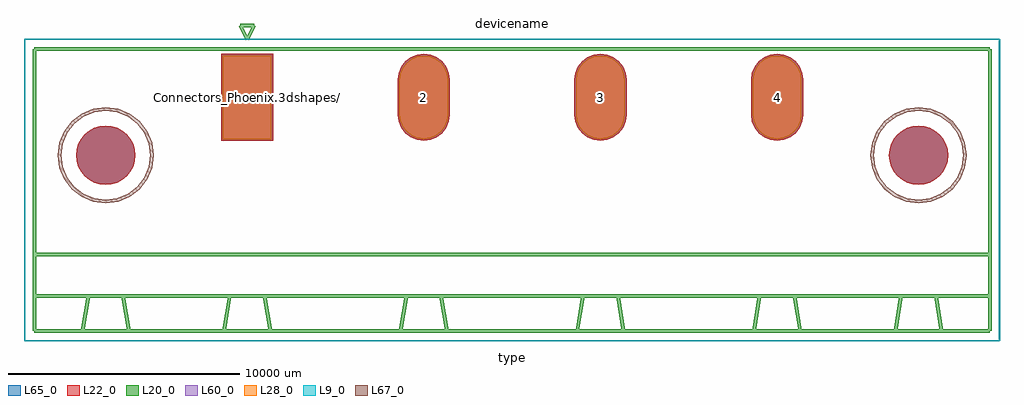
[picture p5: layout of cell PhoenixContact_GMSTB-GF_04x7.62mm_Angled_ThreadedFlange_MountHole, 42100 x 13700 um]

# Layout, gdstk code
import gdstk
lib = gdstk.Library(unit=1e-6, precision=1e-09)
def R(c, l, rs):  # rectangles x0, y0, x1, y1
    for r in rs: c.add(gdstk.rectangle(r[:2], r[2:], *l))
def P(c, l, *ps):  # polygons
    for p in ps: c.add(gdstk.Polygon(p, *l))
L9_0 = (9, 0)
L20_0 = (20, 0)
L22_0 = (22, 0)
L28_0 = (28, 0)
L60_0 = (60, 0)
L65_0 = (65, 0)
L67_0 = (67, 0)

phoenixcontact_gmstb_gf_ = lib.new_cell('PhoenixContact_GMSTB-GF_04x7.62mm_Angled_ThreadedFlange_MountHole')
R(phoenixcontact_gmstb_gf_, L22_0, [(-1125,-1875,1125,1875)])
P(phoenixcontact_gmstb_gf_, L22_0, [(30235,-2500),(30210.501,-2251.26),(30137.946,-2012.079),(30020.124,-1791.648),(29861.561,-1598.439),(29668.352,-1439.876),(29447.921,-1322.054),(29208.74,-1249.499),(28960,-1225),(28711.26,-1249.499),(28472.079,-1322.054),(28251.648,-1439.876),(28058.439,-1598.439),(27899.876,-1791.648),(27782.054,-2012.079),(27709.499,-2251.26),(27685,-2500),(27709.499,-2748.74),(27782.054,-2987.921),(27899.876,-3208.352),(28058.439,-3401.561),(28251.648,-3560.124),(28472.079,-3677.946),(28711.26,-3750.501),(28960,-3775),(29208.74,-3750.501),(29447.921,-3677.946),(29668.352,-3560.124),(29861.561,-3401.561),(30020.124,-3208.352),(30137.946,-2987.921),(30210.501,-2748.74)],
  [(-4825,-2500),(-4849.499,-2251.26),(-4922.054,-2012.079),(-5039.876,-1791.648),(-5198.439,-1598.439),(-5391.648,-1439.876),(-5612.079,-1322.054),(-5851.26,-1249.499),(-6100,-1225),(-6348.74,-1249.499),(-6587.921,-1322.054),(-6808.352,-1439.876),(-7001.561,-1598.439),(-7160.124,-1791.648),(-7277.946,-2012.079),(-7350.501,-2251.26),(-7375,-2500),(-7350.501,-2748.74),(-7277.946,-2987.921),(-7160.124,-3208.352),(-7001.561,-3401.561),(-6808.352,-3560.124),(-6587.921,-3677.946),(-6348.74,-3750.501),(-6100,-3775),(-5851.26,-3750.501),(-5612.079,-3677.946),(-5391.648,-3560.124),(-5198.439,-3401.561),(-5039.876,-3208.352),(-4922.054,-2987.921),(-4849.499,-2748.74)],
  [(22860,-1875),(23151.171,-1836.667),(23422.5,-1724.279),(23655.495,-1545.495),(23834.279,-1312.5),(23946.667,-1041.171),(23985,-750),(23985,750),(23946.667,1041.171),(23834.279,1312.5),(23655.495,1545.495),(23422.5,1724.279),(23151.171,1836.667),(22860,1875),(22568.829,1836.667),(22297.5,1724.279),(22064.505,1545.495),(21885.721,1312.5),(21773.333,1041.171),(21735,750),(21735,-750),(21773.333,-1041.171),(21885.721,-1312.5),(22064.505,-1545.495),(22297.5,-1724.279),(22568.829,-1836.667)],
  [(15240,-1875),(15531.171,-1836.667),(15802.5,-1724.279),(16035.495,-1545.495),(16214.279,-1312.5),(16326.667,-1041.171),(16365,-750),(16365,750),(16326.667,1041.171),(16214.279,1312.5),(16035.495,1545.495),(15802.5,1724.279),(15531.171,1836.667),(15240,1875),(14948.829,1836.667),(14677.5,1724.279),(14444.505,1545.495),(14265.721,1312.5),(14153.333,1041.171),(14115,750),(14115,-750),(14153.333,-1041.171),(14265.721,-1312.5),(14444.505,-1545.495),(14677.5,-1724.279),(14948.829,-1836.667)],
  [(7620,-1875),(7911.171,-1836.667),(8182.5,-1724.279),(8415.495,-1545.495),(8594.279,-1312.5),(8706.667,-1041.171),(8745,-750),(8745,750),(8706.667,1041.171),(8594.279,1312.5),(8415.495,1545.495),(8182.5,1724.279),(7911.171,1836.667),(7620,1875),(7328.829,1836.667),(7057.5,1724.279),(6824.505,1545.495),(6645.721,1312.5),(6533.333,1041.171),(6495,750),(6495,-750),(6533.333,-1041.171),(6645.721,-1312.5),(6824.505,-1545.495),(7057.5,-1724.279),(7328.829,-1836.667)])
R(phoenixcontact_gmstb_gf_, L28_0, [(-1050,-1800,1050,1800)])
P(phoenixcontact_gmstb_gf_, L28_0, [(22860,-1800),(23131.76,-1764.222),(23385,-1659.327),(23602.462,-1492.462),(23769.327,-1275),(23874.222,-1021.76),(23910,-750),(23910,750),(23874.222,1021.76),(23769.327,1275),(23602.462,1492.462),(23385,1659.327),(23131.76,1764.222),(22860,1800),(22588.24,1764.222),(22335,1659.327),(22117.538,1492.462),(21950.673,1275),(21845.778,1021.76),(21810,750),(21810,-750),(21845.778,-1021.76),(21950.673,-1275),(22117.538,-1492.462),(22335,-1659.327),(22588.24,-1764.222)],
  [(15240,-1800),(15511.76,-1764.222),(15765,-1659.327),(15982.462,-1492.462),(16149.327,-1275),(16254.222,-1021.76),(16290,-750),(16290,750),(16254.222,1021.76),(16149.327,1275),(15982.462,1492.462),(15765,1659.327),(15511.76,1764.222),(15240,1800),(14968.24,1764.222),(14715,1659.327),(14497.538,1492.462),(14330.673,1275),(14225.778,1021.76),(14190,750),(14190,-750),(14225.778,-1021.76),(14330.673,-1275),(14497.538,-1492.462),(14715,-1659.327),(14968.24,-1764.222)],
  [(7620,-1800),(7891.76,-1764.222),(8145,-1659.327),(8362.462,-1492.462),(8529.327,-1275),(8634.222,-1021.76),(8670,-750),(8670,750),(8634.222,1021.76),(8529.327,1275),(8362.462,1492.462),(8145,1659.327),(7891.76,1764.222),(7620,1800),(7348.24,1764.222),(7095,1659.327),(6877.538,1492.462),(6710.673,1275),(6605.778,1021.76),(6570,750),(6570,-750),(6605.778,-1021.76),(6710.673,-1275),(6877.538,-1492.462),(7095,-1659.327),(7348.24,-1764.222)])
R(phoenixcontact_gmstb_gf_, L60_0, [(-1050,-1800,1050,1800)])
P(phoenixcontact_gmstb_gf_, L60_0, [(22860,-1800),(23131.76,-1764.222),(23385,-1659.327),(23602.462,-1492.462),(23769.327,-1275),(23874.222,-1021.76),(23910,-750),(23910,750),(23874.222,1021.76),(23769.327,1275),(23602.462,1492.462),(23385,1659.327),(23131.76,1764.222),(22860,1800),(22588.24,1764.222),(22335,1659.327),(22117.538,1492.462),(21950.673,1275),(21845.778,1021.76),(21810,750),(21810,-750),(21845.778,-1021.76),(21950.673,-1275),(22117.538,-1492.462),(22335,-1659.327),(22588.24,-1764.222)],
  [(15240,-1800),(15511.76,-1764.222),(15765,-1659.327),(15982.462,-1492.462),(16149.327,-1275),(16254.222,-1021.76),(16290,-750),(16290,750),(16254.222,1021.76),(16149.327,1275),(15982.462,1492.462),(15765,1659.327),(15511.76,1764.222),(15240,1800),(14968.24,1764.222),(14715,1659.327),(14497.538,1492.462),(14330.673,1275),(14225.778,1021.76),(14190,750),(14190,-750),(14225.778,-1021.76),(14330.673,-1275),(14497.538,-1492.462),(14715,-1659.327),(14968.24,-1764.222)],
  [(7620,-1800),(7891.76,-1764.222),(8145,-1659.327),(8362.462,-1492.462),(8529.327,-1275),(8634.222,-1021.76),(8670,-750),(8670,750),(8634.222,1021.76),(8529.327,1275),(8362.462,1492.462),(8145,1659.327),(7891.76,1764.222),(7620,1800),(7348.24,1764.222),(7095,1659.327),(6877.538,1492.462),(6710.673,1275),(6605.778,1021.76),(6570,750),(6570,-750),(6605.778,-1021.76),(6710.673,-1275),(6877.538,-1492.462),(7095,-1659.327),(7348.24,-1764.222)])
R(phoenixcontact_gmstb_gf_, L65_0, [(-1125,-1875,1125,1875)])
P(phoenixcontact_gmstb_gf_, L65_0, [(30235,-2500),(30210.501,-2251.26),(30137.946,-2012.079),(30020.124,-1791.648),(29861.561,-1598.439),(29668.352,-1439.876),(29447.921,-1322.054),(29208.74,-1249.499),(28960,-1225),(28711.26,-1249.499),(28472.079,-1322.054),(28251.648,-1439.876),(28058.439,-1598.439),(27899.876,-1791.648),(27782.054,-2012.079),(27709.499,-2251.26),(27685,-2500),(27709.499,-2748.74),(27782.054,-2987.921),(27899.876,-3208.352),(28058.439,-3401.561),(28251.648,-3560.124),(28472.079,-3677.946),(28711.26,-3750.501),(28960,-3775),(29208.74,-3750.501),(29447.921,-3677.946),(29668.352,-3560.124),(29861.561,-3401.561),(30020.124,-3208.352),(30137.946,-2987.921),(30210.501,-2748.74)],
  [(-4825,-2500),(-4849.499,-2251.26),(-4922.054,-2012.079),(-5039.876,-1791.648),(-5198.439,-1598.439),(-5391.648,-1439.876),(-5612.079,-1322.054),(-5851.26,-1249.499),(-6100,-1225),(-6348.74,-1249.499),(-6587.921,-1322.054),(-6808.352,-1439.876),(-7001.561,-1598.439),(-7160.124,-1791.648),(-7277.946,-2012.079),(-7350.501,-2251.26),(-7375,-2500),(-7350.501,-2748.74),(-7277.946,-2987.921),(-7160.124,-3208.352),(-7001.561,-3401.561),(-6808.352,-3560.124),(-6587.921,-3677.946),(-6348.74,-3750.501),(-6100,-3775),(-5851.26,-3750.501),(-5612.079,-3677.946),(-5391.648,-3560.124),(-5198.439,-3401.561),(-5039.876,-3208.352),(-4922.054,-2987.921),(-4849.499,-2748.74)],
  [(22860,-1875),(23151.171,-1836.667),(23422.5,-1724.279),(23655.495,-1545.495),(23834.279,-1312.5),(23946.667,-1041.171),(23985,-750),(23985,750),(23946.667,1041.171),(23834.279,1312.5),(23655.495,1545.495),(23422.5,1724.279),(23151.171,1836.667),(22860,1875),(22568.829,1836.667),(22297.5,1724.279),(22064.505,1545.495),(21885.721,1312.5),(21773.333,1041.171),(21735,750),(21735,-750),(21773.333,-1041.171),(21885.721,-1312.5),(22064.505,-1545.495),(22297.5,-1724.279),(22568.829,-1836.667)],
  [(15240,-1875),(15531.171,-1836.667),(15802.5,-1724.279),(16035.495,-1545.495),(16214.279,-1312.5),(16326.667,-1041.171),(16365,-750),(16365,750),(16326.667,1041.171),(16214.279,1312.5),(16035.495,1545.495),(15802.5,1724.279),(15531.171,1836.667),(15240,1875),(14948.829,1836.667),(14677.5,1724.279),(14444.505,1545.495),(14265.721,1312.5),(14153.333,1041.171),(14115,750),(14115,-750),(14153.333,-1041.171),(14265.721,-1312.5),(14444.505,-1545.495),(14677.5,-1724.279),(14948.829,-1836.667)],
  [(7620,-1875),(7911.171,-1836.667),(8182.5,-1724.279),(8415.495,-1545.495),(8594.279,-1312.5),(8706.667,-1041.171),(8745,-750),(8745,750),(8706.667,1041.171),(8594.279,1312.5),(8415.495,1545.495),(8182.5,1724.279),(7911.171,1836.667),(7620,1875),(7328.829,1836.667),(7057.5,1724.279),(6824.505,1545.495),(6645.721,1312.5),(6533.333,1041.171),(6495,750),(6495,-750),(6533.333,-1041.171),(6645.721,-1312.5),(6824.505,-1545.495),(7057.5,-1724.279),(7328.829,-1836.667)])
phoenixcontact_gmstb_gf_.add(gdstk.FlexPath([(-300,3100),(0,2500)], 149.998, ends="flush", simple_path=True, layer=20, datatype=0))  # L20_0
phoenixcontact_gmstb_gf_.add(gdstk.FlexPath([(300,3100),(-300,3100)], 149.998, ends="flush", simple_path=True, layer=20, datatype=0))  # L20_0
phoenixcontact_gmstb_gf_.add(gdstk.FlexPath([(0,2500),(300,3100)], 149.998, ends="flush", simple_path=True, layer=20, datatype=0))  # L20_0
phoenixcontact_gmstb_gf_.add(gdstk.FlexPath([(32450,2500),(-9600,2500)], 50, ends="flush", simple_path=True, layer=9, datatype=0))  # L9_0
phoenixcontact_gmstb_gf_.add(gdstk.FlexPath([(32450,-10500),(32450,2500)], 50, ends="flush", simple_path=True, layer=9, datatype=0))  # L9_0
phoenixcontact_gmstb_gf_.add(gdstk.FlexPath([(-9600,-10500),(32450,-10500)], 50, ends="flush", simple_path=True, layer=9, datatype=0))  # L9_0
phoenixcontact_gmstb_gf_.add(gdstk.FlexPath([(-9600,2500),(-9600,-10500)], 50, ends="flush", simple_path=True, layer=9, datatype=0))  # L9_0
phoenixcontact_gmstb_gf_.add(gdstk.FlexPath([(22110,-8580),(21860,-10080)], 149.998, ends="flush", simple_path=True, layer=20, datatype=0))  # L20_0
phoenixcontact_gmstb_gf_.add(gdstk.FlexPath([(23610,-8580),(22110,-8580)], 149.998, ends="flush", simple_path=True, layer=20, datatype=0))  # L20_0
phoenixcontact_gmstb_gf_.add(gdstk.FlexPath([(23860,-10080),(23610,-8580)], 149.998, ends="flush", simple_path=True, layer=20, datatype=0))  # L20_0
phoenixcontact_gmstb_gf_.add(gdstk.FlexPath([(21860,-10080),(23860,-10080)], 149.998, ends="flush", simple_path=True, layer=20, datatype=0))  # L20_0
phoenixcontact_gmstb_gf_.add(gdstk.FlexPath([(14490,-8580),(14240,-10080)], 149.998, ends="flush", simple_path=True, layer=20, datatype=0))  # L20_0
phoenixcontact_gmstb_gf_.add(gdstk.FlexPath([(15990,-8580),(14490,-8580)], 149.998, ends="flush", simple_path=True, layer=20, datatype=0))  # L20_0
phoenixcontact_gmstb_gf_.add(gdstk.FlexPath([(16240,-10080),(15990,-8580)], 149.998, ends="flush", simple_path=True, layer=20, datatype=0))  # L20_0
phoenixcontact_gmstb_gf_.add(gdstk.FlexPath([(14240,-10080),(16240,-10080)], 149.998, ends="flush", simple_path=True, layer=20, datatype=0))  # L20_0
phoenixcontact_gmstb_gf_.add(gdstk.FlexPath([(6870,-8580),(6620,-10080)], 149.998, ends="flush", simple_path=True, layer=20, datatype=0))  # L20_0
phoenixcontact_gmstb_gf_.add(gdstk.FlexPath([(8370,-8580),(6870,-8580)], 149.998, ends="flush", simple_path=True, layer=20, datatype=0))  # L20_0
phoenixcontact_gmstb_gf_.add(gdstk.FlexPath([(8620,-10080),(8370,-8580)], 149.998, ends="flush", simple_path=True, layer=20, datatype=0))  # L20_0
phoenixcontact_gmstb_gf_.add(gdstk.FlexPath([(6620,-10080),(8620,-10080)], 149.998, ends="flush", simple_path=True, layer=20, datatype=0))  # L20_0
phoenixcontact_gmstb_gf_.add(gdstk.FlexPath([(-750,-8580),(-1000,-10080)], 149.998, ends="flush", simple_path=True, layer=20, datatype=0))  # L20_0
phoenixcontact_gmstb_gf_.add(gdstk.FlexPath([(750,-8580),(-750,-8580)], 149.998, ends="flush", simple_path=True, layer=20, datatype=0))  # L20_0
phoenixcontact_gmstb_gf_.add(gdstk.FlexPath([(1000,-10080),(750,-8580)], 149.998, ends="flush", simple_path=True, layer=20, datatype=0))  # L20_0
phoenixcontact_gmstb_gf_.add(gdstk.FlexPath([(-1000,-10080),(1000,-10080)], 149.998, ends="flush", simple_path=True, layer=20, datatype=0))  # L20_0
phoenixcontact_gmstb_gf_.add(gdstk.FlexPath([(28210,-8580),(27960,-10080)], 149.998, ends="flush", simple_path=True, layer=20, datatype=0))  # L20_0
phoenixcontact_gmstb_gf_.add(gdstk.FlexPath([(29710,-8580),(28210,-8580)], 149.998, ends="flush", simple_path=True, layer=20, datatype=0))  # L20_0
phoenixcontact_gmstb_gf_.add(gdstk.FlexPath([(29960,-10080),(29710,-8580)], 149.998, ends="flush", simple_path=True, layer=20, datatype=0))  # L20_0
phoenixcontact_gmstb_gf_.add(gdstk.FlexPath([(27960,-10080),(29960,-10080)], 149.998, ends="flush", simple_path=True, layer=20, datatype=0))  # L20_0
phoenixcontact_gmstb_gf_.add(gdstk.FlexPath([(-6850,-8580),(-7100,-10080)], 149.998, ends="flush", simple_path=True, layer=20, datatype=0))  # L20_0
phoenixcontact_gmstb_gf_.add(gdstk.FlexPath([(-5350,-8580),(-6850,-8580)], 149.998, ends="flush", simple_path=True, layer=20, datatype=0))  # L20_0
phoenixcontact_gmstb_gf_.add(gdstk.FlexPath([(-5100,-10080),(-5350,-8580)], 149.998, ends="flush", simple_path=True, layer=20, datatype=0))  # L20_0
phoenixcontact_gmstb_gf_.add(gdstk.FlexPath([(-7100,-10080),(-5100,-10080)], 149.998, ends="flush", simple_path=True, layer=20, datatype=0))  # L20_0
phoenixcontact_gmstb_gf_.add(gdstk.FlexPath([(32040,-8580),(-9180,-8580)], 149.998, ends="flush", simple_path=True, layer=20, datatype=0))  # L20_0
phoenixcontact_gmstb_gf_.add(gdstk.FlexPath([(32040,-6780),(32040,-8580)], 149.998, ends="flush", simple_path=True, layer=20, datatype=0))  # L20_0
phoenixcontact_gmstb_gf_.add(gdstk.FlexPath([(-9180,-6780),(32040,-6780)], 149.998, ends="flush", simple_path=True, layer=20, datatype=0))  # L20_0
phoenixcontact_gmstb_gf_.add(gdstk.FlexPath([(-9180,-8580),(-9180,-6780)], 149.998, ends="flush", simple_path=True, layer=20, datatype=0))  # L20_0
phoenixcontact_gmstb_gf_.add(gdstk.FlexPath([(32040,2080),(-9180,2080)], 149.998, ends="flush", simple_path=True, layer=20, datatype=0))  # L20_0
phoenixcontact_gmstb_gf_.add(gdstk.FlexPath([(32040,-10080),(32040,2080)], 149.998, ends="flush", simple_path=True, layer=20, datatype=0))  # L20_0
phoenixcontact_gmstb_gf_.add(gdstk.FlexPath([(-9180,-10080),(32040,-10080)], 149.998, ends="flush", simple_path=True, layer=20, datatype=0))  # L20_0
phoenixcontact_gmstb_gf_.add(gdstk.FlexPath([(-9180,2080),(-9180,-10080)], 149.998, ends="flush", simple_path=True, layer=20, datatype=0))  # L20_0
phoenixcontact_gmstb_gf_.add(gdstk.FlexPath([(30960,-2500),(30891.852,-1982.362),(30692.051,-1500),(30374.214,-1085.786),(29960,-767.949),(29477.638,-568.148),(28960,-500),(28442.362,-568.148),(27960,-767.949),(27545.786,-1085.786),(27227.949,-1500),(27028.148,-1982.362),(26960,-2500),(27028.148,-3017.638),(27227.949,-3500),(27545.786,-3914.214),(27960,-4232.051),(28442.362,-4431.852),(28960,-4500),(29477.638,-4431.852),(29960,-4232.051),(30374.214,-3914.214),(30692.051,-3500),(30891.852,-3017.638),(30960,-2500)], 149.998, ends="flush", simple_path=True, layer=67, datatype=0))  # L67_0
phoenixcontact_gmstb_gf_.add(gdstk.FlexPath([(-4100,-2500),(-4168.148,-1982.362),(-4367.949,-1500),(-4685.786,-1085.786),(-5100,-767.949),(-5582.362,-568.148),(-6100,-500),(-6617.638,-568.148),(-7100,-767.949),(-7514.214,-1085.786),(-7832.051,-1500),(-8031.852,-1982.362),(-8100,-2500),(-8031.852,-3017.638),(-7832.051,-3500),(-7514.214,-3914.214),(-7100,-4232.051),(-6617.638,-4431.852),(-6100,-4500),(-5582.362,-4431.852),(-5100,-4232.051),(-4685.786,-3914.214),(-4367.949,-3500),(-4168.148,-3017.638),(-4100,-2500)], 149.998, ends="flush", simple_path=True, layer=67, datatype=0))  # L67_0
phoenixcontact_gmstb_gf_.add(gdstk.Label('Connectors_Phoenix.3dshapes/PhoenixContact_GMSTB-GF_04x7.62mm_Angled_ThreadedFlange_MountHole.wrl', (0,0), layer=12, texttype=0))
phoenixcontact_gmstb_gf_.add(gdstk.Label('4', (22860,0), layer=28, texttype=0))
phoenixcontact_gmstb_gf_.add(gdstk.Label('3', (15240,0), layer=28, texttype=0))
phoenixcontact_gmstb_gf_.add(gdstk.Label('2', (7620,0), layer=28, texttype=0))
phoenixcontact_gmstb_gf_.add(gdstk.Label('1', (0,0), layer=28, texttype=0))
phoenixcontact_gmstb_gf_.add(gdstk.Label('type', (11430,-11500), layer=9, texttype=0))
phoenixcontact_gmstb_gf_.add(gdstk.Label('devicename', (11430,3200), layer=9, texttype=0))

lib.write_gds('PhoenixContact_GMSTB-GF_04x7.62mm_Angled_ThreadedFlange_MountHole.gds')
